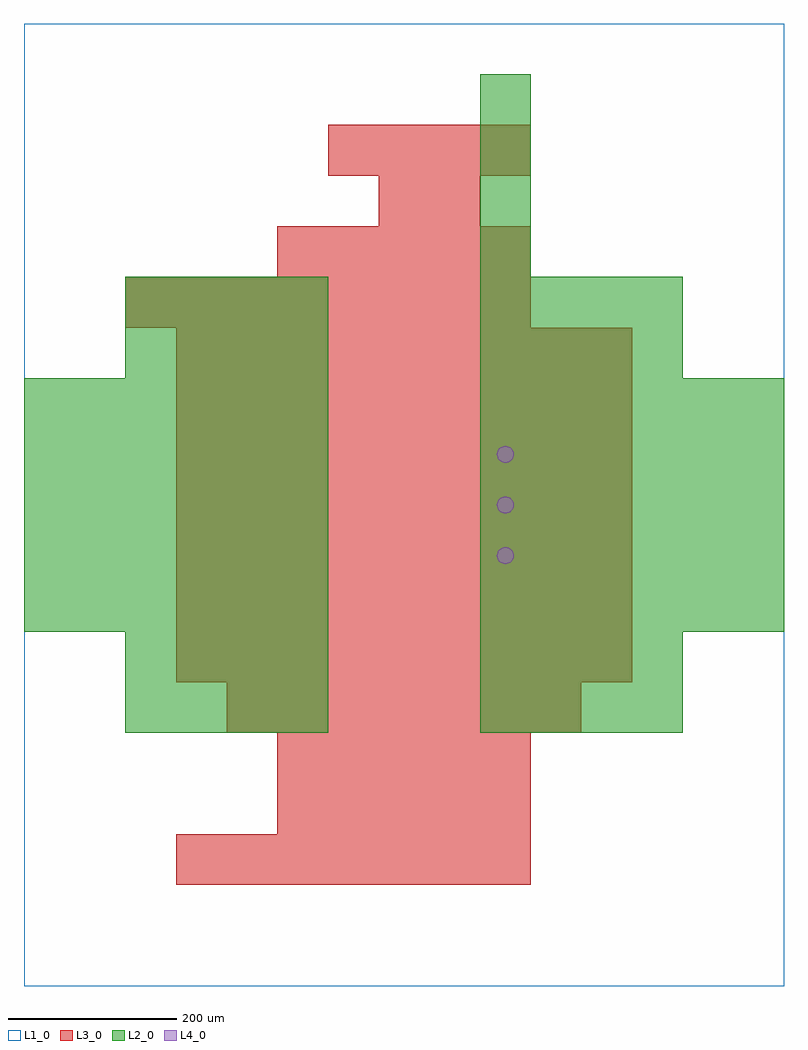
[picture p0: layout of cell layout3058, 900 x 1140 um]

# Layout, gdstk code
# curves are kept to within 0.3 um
import gdstk
lib = gdstk.Library(unit=1e-6, precision=1e-09)
def R(c, l, rs):  # rectangles x0, y0, x1, y1
    for r in rs: c.add(gdstk.rectangle(r[:2], r[2:], *l))
def A(c, l, x, y, w, h, nx, ny, dx, dy):  # array of equal rectangles
    R(c, l, [(x+i*dx, y+j*dy, x+i*dx+w, y+j*dy+h) for i in range(nx) for j in range(ny)])
def P(c, l, *ps):  # polygons
    for p in ps: c.add(gdstk.Polygon(p, *l))
L1_0 = (1, 0)
L2_0 = (2, 0)
L3_0 = (3, 0)
L4_0 = (4, 0)

layout3058 = lib.new_cell('layout3058')
R(layout3058, L1_0, [(0,0,900,1140)])
A(layout3058, L2_0, 120, 300, 60, 60, 4, 2, 60, 60)
A(layout3058, L2_0, 540, 300, 60, 60, 4, 2, 60, 60)
A(layout3058, L2_0, 0, 420, 60, 60, 6, 5, 60, 60)
A(layout3058, L2_0, 540, 420, 60, 60, 6, 5, 60, 60)
A(layout3058, L2_0, 120, 720, 60, 60, 4, 2, 60, 60)
A(layout3058, L2_0, 540, 720, 60, 60, 4, 2, 60, 60)
A(layout3058, L2_0, 540, 840, 60, 60, 1, 4, 0, 60)
A(layout3058, L3_0, 180, 120, 60, 60, 7, 1, 60, 0)
A(layout3058, L3_0, 300, 180, 60, 60, 5, 2, 60, 60)
A(layout3058, L3_0, 240, 300, 60, 60, 7, 1, 60, 0)
A(layout3058, L3_0, 180, 360, 60, 60, 9, 7, 60, 60)
A(layout3058, L3_0, 120, 780, 60, 60, 8, 1, 60, 0)
A(layout3058, L3_0, 300, 840, 60, 60, 5, 1, 60, 0)
A(layout3058, L3_0, 360, 960, 60, 60, 4, 1, 60, 0)
R(layout3058, L3_0, [(420,900,480,960), (480,900,540,960)])
P(layout3058, L4_0, [(580,510),(579.239,513.827),(577.071,517.071),(573.827,519.239),(570,520),(566.173,519.239),(562.929,517.071),(560.761,513.827),(560,510),(560.761,506.173),(562.929,502.929),(566.173,500.761),(570,500),(573.827,500.761),(577.071,502.929),(579.239,506.173)],
  [(580,570),(579.239,573.827),(577.071,577.071),(573.827,579.239),(570,580),(566.173,579.239),(562.929,577.071),(560.761,573.827),(560,570),(560.761,566.173),(562.929,562.929),(566.173,560.761),(570,560),(573.827,560.761),(577.071,562.929),(579.239,566.173)],
  [(580,630),(579.239,633.827),(577.071,637.071),(573.827,639.239),(570,640),(566.173,639.239),(562.929,637.071),(560.761,633.827),(560,630),(560.761,626.173),(562.929,622.929),(566.173,620.761),(570,620),(573.827,620.761),(577.071,622.929),(579.239,626.173)])

lib.write_gds('layout3058.gds')
